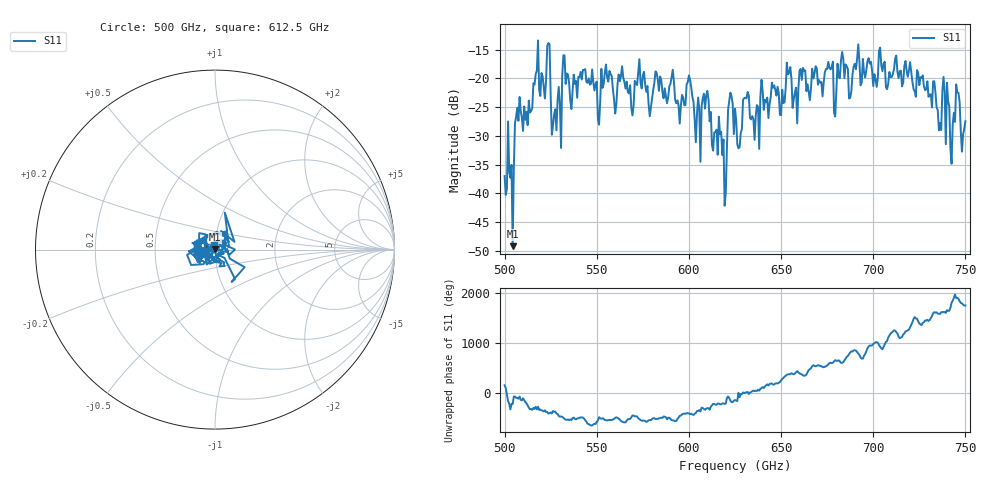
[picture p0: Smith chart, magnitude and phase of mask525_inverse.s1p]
!Created with skrf (http://scikit-rf.org).
# GHz S MA R 50.0
!freq magS11 angS11
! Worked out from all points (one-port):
!   401 points, 500 GHz to 750 GHz, reference 50 ohm
!   lowest |S11| = -49.2 dB at 504.4 GHz (marker M1), VSWR 1.01, Z = 49.8 + j0.262 ohm
!   |S11| at or under -10 dB: start of sweep to end of sweep
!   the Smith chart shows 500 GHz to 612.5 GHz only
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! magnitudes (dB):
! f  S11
! 500 GHz  -37.0
! 504.4 GHz  -49.2
! 506.9 GHz  -25.1
! 513.8 GHz  -26.0
! 516.9 GHz  -19.3
! 523.8 GHz  -13.9
! 526.9 GHz  -26.3
! 531.2 GHz  -19.7
! 562.5 GHz  -20.5
! 579.4 GHz  -25.1
! 590.6 GHz  -19.8
! 593.8 GHz  -23.8
! 600 GHz  -19.5
! 605 GHz  -23.3
! 609.4 GHz  -23.0
! 619.4 GHz  -42.1
! 622.5 GHz  -22.5
! 625 GHz  -25.3
! 656.2 GHz  -25.2
! 676.9 GHz  -18.5
! 680 GHz  -22.2
! 683.8 GHz  -16.6
! 687.5 GHz  -23.4
! 691.2 GHz  -16.6
! 718.8 GHz  -19.7
! 743.1 GHz  -28.0
! 745.6 GHz  -22.5
! 750 GHz  -27.5
